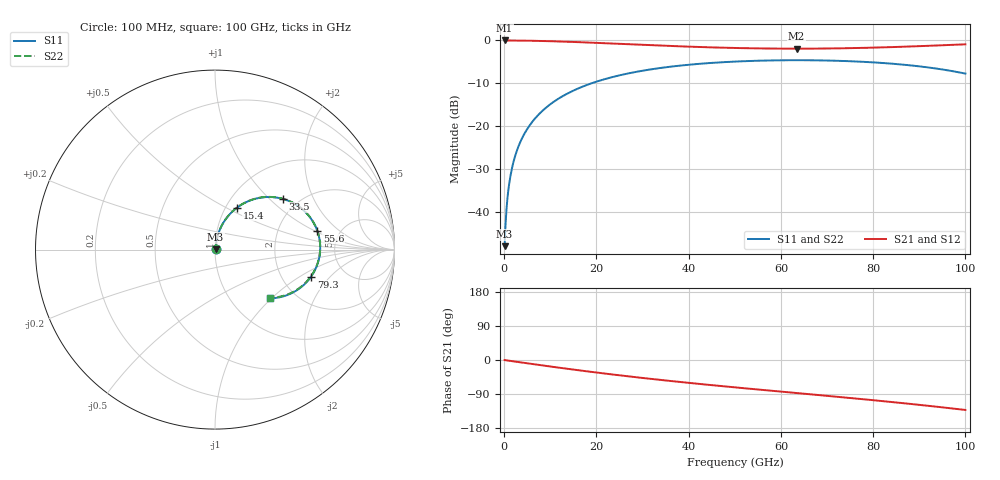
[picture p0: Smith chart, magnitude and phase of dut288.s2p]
! Touchstone file exported from HFSS 2026.1.0
!  File:  C:/ffzhzh/LocalFiles/Ansys_Project_Files/temp_train_RDL_288_1783502157_44152.aedt
!  Generated:  05:17:11 PM Jul  8, 2026
!  Design:  RDL
!  Project:  temp_train_RDL_288_1783502157_44152
! Variables:
!  h_bsmrdl = 2um
!  h_ox = 20um
!  h_rdl = 5um
!  h_sub = 80um
!  h_tmrdl = 2.53um
!  h_tsv = 80um
!  h_via = 3um
!  l_bsmrdl = 300um
!  l_sub = 848.23um
!  l_tmrdl = 448.23um
!  m_sub = 200um
!  pitch = 45.87um
!  r_tsv = 6um
!  s_tmrdl = 10um
!  w_bsmrdl = 18um
!  w_sub = 500um
!  w_tmrdl = 19.63um
!  x_tsv_center1 = 458.045um
!  x_tsv_center2 = 776.045um
!  x_tsv_center3 = 1243.905um
!  x_tsv_center4 = 1561.905um
!  x_tsv_center5 = 2029.765um
!  x_tsv_center6 = 2347.765um
# GHz S MA R 50.000000
! Terminal data exported
! Port[1] = TM_RDL1_1_T1
! Port[2] = TM_RDL1_1_T2
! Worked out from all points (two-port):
!   1000 points, 100 MHz to 100 GHz, reference 50 ohm
!   highest |S21| = -0.03 dB at 100 MHz (marker M1); lowest = -1.9 dB at 63.4 GHz (marker M2)
!   |S21| within 3 dB of the highest: start of sweep to end of sweep
!   lowest |S11| = -48.0 dB at 100 MHz (marker M3), VSWR 1.01, Z = 50.3 + j0.205 ohm
!   |S11| at or under -10 dB: start of sweep to 19 GHz
!   |S22| runs from -48.0 to -4.6 dB; largest |S21 - S12| = 2.1e-14
!   S11 on the Smith chart (normalised r, x): 100 MHz: 1.01, +0.00; 15.4 GHz: 1.13, +0.57; 33.5 GHz: 1.67, +1.21; 55.6 GHz: 3.38, +1.08; 79.3 GHz: 2.90, -1.26; 100 GHz: 1.50, -0.98
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0.1  0.003977 30.8  0.9966 -0.2  0.9966 -0.2  0.003977 30.8
! Gamma 0 0 0 0
! Port Impedance 50 0 50 0
0.9  0.01775 74.8  0.9957 -1.6  0.9957 -1.6  0.01775 74.8
1.2  0.02317 77.2  0.9954 -2.1  0.9954 -2.1  0.02317 77.2
1.5  0.02862 78.5  0.9952 -2.6  0.9952 -2.6  0.02861 78.5
2.5  0.0469 80.0  0.9943 -4.4  0.9943 -4.4  0.0469 80.0
3.9  0.07247 79.3  0.9924 -6.8  0.9924 -6.8  0.07247 79.3
5.9  0.1085 76.9  0.9886 -10.2  0.9886 -10.2  0.1085 76.9
8.4  0.1524 73.1  0.982 -14.5  0.982 -14.5  0.1524 73.2
11.6  0.2059 68.1  0.9712 -19.8  0.9712 -19.8  0.2059 68.2
15.4  0.2651 62.2  0.9556 -25.9  0.9556 -25.9  0.265 62.3
16.8  0.2855 60.1  0.9494 -28.1  0.9494 -28.1  0.2855 60.1
24.2  0.3815 49.2  0.9141 -39.2  0.9141 -39.2  0.3814 49.3
33.4  0.472 36.7  0.8707 -51.9  0.8707 -51.9  0.472 36.9
33.5  0.4729 36.6  0.8702 -52.0  0.8702 -52.0  0.4728 36.8
50.1  0.5654 16.7  0.8141 -72.3  0.8141 -72.3  0.5652 16.9
55.6  0.5793 10.6  0.8045 -78.5  0.8045 -78.5  0.5792 10.8
63.4  0.5865 2.0  0.7994 -87.2  0.7994 -87.2  0.5864 2.3
66.7  0.5853 -1.6  0.8003 -90.9  0.8003 -90.9  0.5851 -1.3
79.3  0.5562 -15.7  0.82 -105.2  0.82 -105.2  0.556 -15.3
83.4  0.5377 -20.5  0.8316 -110.1  0.8316 -110.1  0.5375 -20.1
92.3  0.4802 -31.4  0.8644 -121.3  0.8644 -121.3  0.48 -30.9
100  0.4091 -41.6  0.8982 -131.9  0.8982 -131.9  0.4089 -41.1
